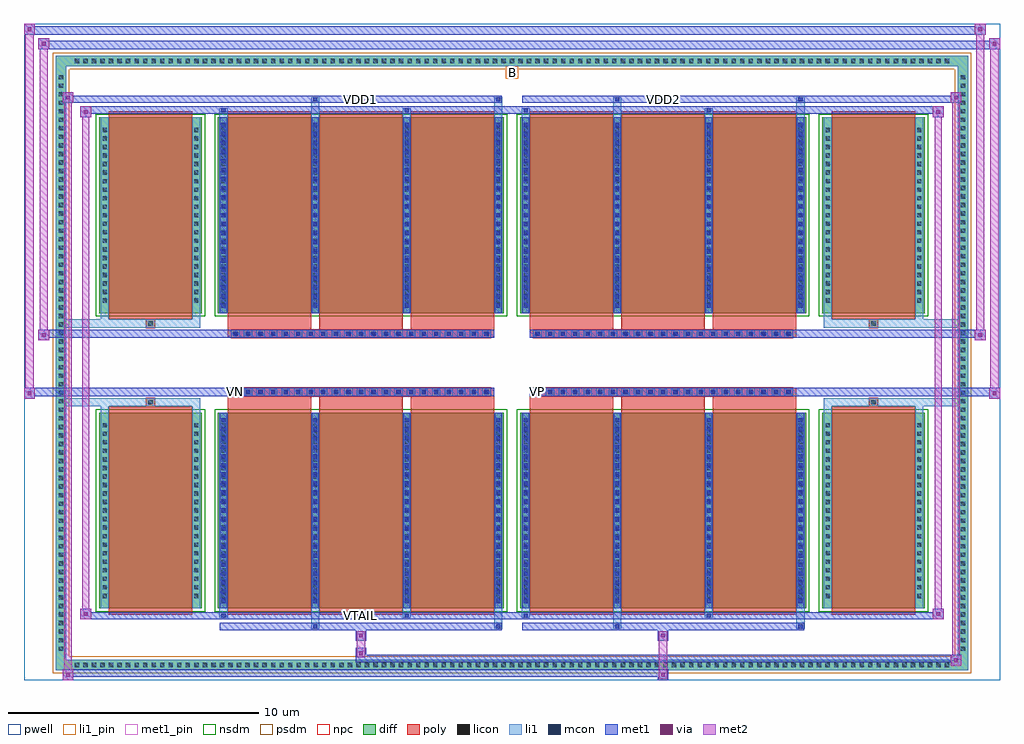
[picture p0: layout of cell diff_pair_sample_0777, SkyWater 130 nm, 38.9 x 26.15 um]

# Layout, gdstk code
import gdstk
lib = gdstk.Library(unit=1e-6, precision=5e-09)
def R(c, l, rs):  # rectangles x0, y0, x1, y1
    for r in rs: c.add(gdstk.rectangle(r[:2], r[2:], *l))
def A(c, l, x, y, w, h, nx, ny, dx, dy):  # array of equal rectangles
    R(c, l, [(x+i*dx, y+j*dy, x+i*dx+w, y+j*dy+h) for i in range(nx) for j in range(ny)])
def P(c, l, *ps):  # polygons
    for p in ps: c.add(gdstk.Polygon(p, *l))
pwell = (64, 44)
diff = (65, 20)
poly = (66, 20)
licon = (66, 44)
li1_pin = (67, 16)
li1 = (67, 20)
mcon = (67, 44)
met1_pin = (68, 16)
met1 = (68, 20)
via = (68, 44)
met2 = (69, 20)
nsdm = (93, 44)
psdm = (94, 20)
npc = (95, 20)

diff_pair_sample_0777 = lib.new_cell('diff_pair_sample_0777')
R(diff_pair_sample_0777, pwell, [(-19.45,-12.64,19.45,13.51), (-16.77,-10.83,-0.01,-0.795), (0.01,-10.83,16.77,-0.795), (-16.77,0.795,-0.01,10.83), (0.01,0.795,16.77,10.83)])
A(diff_pair_sample_0777, diff, -17.545, -12.24, 0.41, 0.41, 103, 2, 0.34, 24.07)
A(diff_pair_sample_0777, diff, -18.18, -11.595, 0.41, 0.41, 1, 68, 0, 0.34)
A(diff_pair_sample_0777, diff, 17.77, -11.595, 0.41, 0.41, 1, 68, 0, 0.34)
R(diff_pair_sample_0777, diff, [(-17.545,-12.24,17.545,-11.83), (-18.18,-11.595,-17.77,11.595), (17.77,-11.595,18.18,11.595), (-16.46,-9.785,-12.36,-1.985), (-11.72,-9.785,-0.32,-1.985), (0.32,-9.785,11.72,-1.985), (12.36,-9.785,16.46,-1.985), (-16.46,1.985,-12.36,9.785), (-11.72,1.985,-0.32,9.785), (0.32,1.985,11.72,9.785), (12.36,1.985,16.46,9.785), (-17.545,11.83,17.545,12.24)])
P(diff_pair_sample_0777, diff, [(18.18,12.24),(-18.18,12.24),(-18.18,-11.83),(-17.77,-11.83),(-17.77,11.83),(17.77,11.83),(17.77,-11.83),(-17.77,-11.83),(-18.18,-11.83),(-18.18,-12.24),(18.18,-12.24)])
A(diff_pair_sample_0777, poly, -11.33, -10.035, 3.32, 8.3, 3, 2, 3.65, 11.77)
A(diff_pair_sample_0777, poly, 0.71, -10.035, 3.32, 8.3, 3, 2, 3.65, 11.77)
A(diff_pair_sample_0777, poly, -11.33, -1.735, 3.32, 0.41, 3, 2, 3.65, 3.06)
A(diff_pair_sample_0777, poly, 0.71, -1.735, 3.32, 0.41, 3, 2, 3.65, 3.06)
A(diff_pair_sample_0777, poly, -11.185, -1.325, 0.33, 0.33, 21, 2, 0.5, 2.32)
A(diff_pair_sample_0777, poly, 0.855, -1.325, 0.33, 0.33, 21, 2, 0.5, 2.32)
R(diff_pair_sample_0777, poly, [(-16.07,-10.035,-12.75,-1.735), (12.75,-10.035,16.07,-1.735), (-14.575,-1.735,-14.245,-1.405), (-14.575,-1.735,-14.245,-1.405), (14.245,-1.735,14.575,-1.405), (14.245,-1.735,14.575,-1.405), (-11.33,-1.325,-0.71,-0.995), (0.71,-1.325,11.33,-0.995), (-11.33,0.995,-0.71,1.325), (0.71,0.995,11.33,1.325), (-14.575,1.405,-14.245,1.735), (-14.575,1.405,-14.245,1.735), (14.245,1.405,14.575,1.735), (14.245,1.405,14.575,1.735), (-16.07,1.735,-12.75,10.035), (12.75,1.735,16.07,10.035)])
A(diff_pair_sample_0777, licon, -17.425, -12.12, 0.17, 0.17, 103, 2, 0.34, 24.07)
A(diff_pair_sample_0777, licon, -18.06, -11.475, 0.17, 0.17, 1, 68, 0, 0.34)
A(diff_pair_sample_0777, licon, 17.89, -11.475, 0.17, 0.17, 1, 68, 0, 0.34)
A(diff_pair_sample_0777, licon, -16.32, -9.37, 0.17, 0.17, 1, 21, 0, 0.34)
A(diff_pair_sample_0777, licon, -12.67, -9.37, 0.17, 0.17, 1, 21, 0, 0.34)
A(diff_pair_sample_0777, licon, -11.58, -9.37, 0.17, 0.17, 4, 21, 3.65, 0.34)
A(diff_pair_sample_0777, licon, 0.46, -9.37, 0.17, 0.17, 4, 21, 3.65, 0.34)
A(diff_pair_sample_0777, licon, 12.5, -9.37, 0.17, 0.17, 1, 21, 0, 0.34)
A(diff_pair_sample_0777, licon, 16.15, -9.37, 0.17, 0.17, 1, 21, 0, 0.34)
A(diff_pair_sample_0777, licon, -11.105, -1.245, 0.17, 0.17, 21, 2, 0.5, 2.32)
A(diff_pair_sample_0777, licon, 0.935, -1.245, 0.17, 0.17, 21, 2, 0.5, 2.32)
A(diff_pair_sample_0777, licon, -16.32, 2.4, 0.17, 0.17, 1, 21, 0, 0.34)
A(diff_pair_sample_0777, licon, -12.67, 2.4, 0.17, 0.17, 1, 21, 0, 0.34)
A(diff_pair_sample_0777, licon, -11.58, 2.4, 0.17, 0.17, 4, 21, 3.65, 0.34)
A(diff_pair_sample_0777, licon, 0.46, 2.4, 0.17, 0.17, 4, 21, 3.65, 0.34)
A(diff_pair_sample_0777, licon, 12.5, 2.4, 0.17, 0.17, 1, 21, 0, 0.34)
A(diff_pair_sample_0777, licon, 16.15, 2.4, 0.17, 0.17, 1, 21, 0, 0.34)
R(diff_pair_sample_0777, licon, [(-14.495,-1.655,-14.325,-1.485), (14.325,-1.655,14.495,-1.485), (-14.495,1.485,-14.325,1.655), (14.325,1.485,14.495,1.655)])
R(diff_pair_sample_0777, li1_pin, [(-0.25,11.33,0.25,11.83)])
A(diff_pair_sample_0777, li1, -17.505, -12.2, 0.33, 0.33, 103, 2, 0.34, 24.07)
A(diff_pair_sample_0777, li1, -18.14, -11.555, 0.33, 0.33, 1, 68, 0, 0.34)
A(diff_pair_sample_0777, li1, 17.81, -11.555, 0.33, 0.33, 1, 68, 0, 0.34)
A(diff_pair_sample_0777, li1, -11.66, -9.785, 0.33, 7.8, 4, 2, 3.65, 11.77)
A(diff_pair_sample_0777, li1, 0.38, -9.785, 0.33, 7.8, 4, 2, 3.65, 11.77)
A(diff_pair_sample_0777, li1, -11.58, -9.57, 0.17, 0.17, 4, 21, 3.65, 0.36)
A(diff_pair_sample_0777, li1, -11.58, -9.57, 0.17, 7.37, 4, 2, 3.65, 11.77)
A(diff_pair_sample_0777, li1, 0.46, -9.57, 0.17, 0.17, 4, 21, 3.65, 0.36)
A(diff_pair_sample_0777, li1, 0.46, -9.57, 0.17, 7.37, 4, 2, 3.65, 11.77)
A(diff_pair_sample_0777, li1, -16.4, -9.45, 0.33, 0.33, 1, 21, 0, 0.34)
A(diff_pair_sample_0777, li1, -12.75, -9.45, 0.33, 0.33, 1, 21, 0, 0.34)
A(diff_pair_sample_0777, li1, -11.66, -9.45, 0.33, 0.33, 4, 21, 3.65, 0.34)
A(diff_pair_sample_0777, li1, 0.38, -9.45, 0.33, 0.33, 4, 21, 3.65, 0.34)
A(diff_pair_sample_0777, li1, 12.42, -9.45, 0.33, 0.33, 1, 21, 0, 0.34)
A(diff_pair_sample_0777, li1, 16.07, -9.45, 0.33, 0.33, 1, 21, 0, 0.34)
A(diff_pair_sample_0777, li1, -11.185, -1.325, 0.33, 0.33, 21, 2, 0.5, 2.32)
A(diff_pair_sample_0777, li1, 0.855, -1.325, 0.33, 0.33, 21, 2, 0.5, 2.32)
A(diff_pair_sample_0777, li1, -11.58, 2.2, 0.17, 0.17, 4, 21, 3.65, 0.36)
A(diff_pair_sample_0777, li1, 0.46, 2.2, 0.17, 0.17, 4, 21, 3.65, 0.36)
A(diff_pair_sample_0777, li1, -16.4, 2.32, 0.33, 0.33, 1, 21, 0, 0.34)
A(diff_pair_sample_0777, li1, -12.75, 2.32, 0.33, 0.33, 1, 21, 0, 0.34)
A(diff_pair_sample_0777, li1, -11.66, 2.32, 0.33, 0.33, 4, 21, 3.65, 0.34)
A(diff_pair_sample_0777, li1, 0.38, 2.32, 0.33, 0.33, 4, 21, 3.65, 0.34)
A(diff_pair_sample_0777, li1, 12.42, 2.32, 0.33, 0.33, 1, 21, 0, 0.34)
A(diff_pair_sample_0777, li1, 16.07, 2.32, 0.33, 0.33, 1, 21, 0, 0.34)
R(diff_pair_sample_0777, li1, [(-18.18,-12.24,-17.77,-11.83), (-18.18,-12.24,-17.77,-11.83), (-17.77,-12.24,17.77,-11.83), (17.77,-12.24,18.18,-11.83), (17.77,-12.24,18.18,-11.83), (-18.18,-11.83,-17.77,11.83), (17.77,-11.83,18.18,11.83), (-8.01,-10.59,-7.68,-9.785), (-7.93,-10.59,-7.76,-10.42), (-0.71,-10.59,-0.38,-9.785), (-0.63,-10.59,-0.46,-10.42), (4.03,-10.59,4.36,-9.785), (4.11,-10.59,4.28,-10.42), (11.33,-10.59,11.66,-9.785), (11.41,-10.59,11.58,-10.42), (-11.66,-10.16,-11.33,-9.785), (-11.58,-10.16,-11.41,-9.99), (-4.36,-10.16,-4.03,-9.785), (-4.28,-10.16,-4.11,-9.99), (0.38,-10.16,0.71,-9.785), (0.46,-10.16,0.63,-9.99), (7.68,-10.16,8.01,-9.785), (7.76,-10.16,7.93,-9.99), (-16.4,-9.785,-16.07,-1.985), (-12.75,-9.785,-12.42,-1.985), (12.42,-9.785,12.75,-1.985), (16.07,-9.785,16.4,-1.985), (-16.4,-1.985,-16.07,-1.405), (-12.75,-1.985,-12.42,-1.405), (12.42,-1.985,12.75,-1.405), (16.07,-1.985,16.4,-1.405), (-18.18,-1.735,-14.575,-1.405), (-16.4,-1.735,-14.575,-1.405), (-14.575,-1.735,-14.245,-1.405), (-14.245,-1.735,-12.42,-1.405), (12.42,-1.735,14.245,-1.405), (14.245,-1.735,14.575,-1.405), (14.245,-1.735,18.18,-1.405), (14.575,-1.735,16.4,-1.405), (-18.18,1.405,-14.575,1.735), (-16.4,1.405,-14.575,1.735), (-16.4,1.405,-16.07,1.985), (-14.575,1.405,-14.245,1.735), (-14.245,1.405,-12.42,1.735), (-12.75,1.405,-12.42,1.985), (12.42,1.405,14.245,1.735), (12.42,1.405,12.75,1.985), (14.245,1.405,14.575,1.735), (14.245,1.405,18.18,1.735), (14.575,1.405,16.4,1.735), (16.07,1.405,16.4,1.985), (-16.4,1.985,-16.07,9.785), (-12.75,1.985,-12.42,9.785), (12.42,1.985,12.75,9.785), (16.07,1.985,16.4,9.785), (-11.66,9.785,-11.33,10.16), (-8.01,9.785,-7.68,10.59), (-4.36,9.785,-4.03,10.16), (-0.71,9.785,-0.38,10.59), (0.38,9.785,0.71,10.16), (4.03,9.785,4.36,10.59), (7.68,9.785,8.01,10.16), (11.33,9.785,11.66,10.59), (-11.58,9.99,-11.41,10.16), (-4.28,9.99,-4.11,10.16), (0.46,9.99,0.63,10.16), (7.76,9.99,7.93,10.16), (-7.93,10.42,-7.76,10.59), (-0.63,10.42,-0.46,10.59), (4.11,10.42,4.28,10.59), (11.41,10.42,11.58,10.59), (-18.18,11.83,-17.77,12.24), (-18.18,11.83,-17.77,12.24), (-17.77,11.83,17.77,12.24), (17.77,11.83,18.18,12.24), (17.77,11.83,18.18,12.24)])
A(diff_pair_sample_0777, mcon, -11.58, -9.57, 0.17, 0.17, 4, 21, 3.65, 0.36)
A(diff_pair_sample_0777, mcon, 0.46, -9.57, 0.17, 0.17, 4, 21, 3.65, 0.36)
A(diff_pair_sample_0777, mcon, -11.105, -1.245, 0.17, 0.17, 21, 2, 0.5, 2.32)
A(diff_pair_sample_0777, mcon, 0.935, -1.245, 0.17, 0.17, 21, 2, 0.5, 2.32)
A(diff_pair_sample_0777, mcon, -11.58, 2.2, 0.17, 0.17, 4, 21, 3.65, 0.36)
A(diff_pair_sample_0777, mcon, 0.46, 2.2, 0.17, 0.17, 4, 21, 3.65, 0.36)
R(diff_pair_sample_0777, mcon, [(-7.93,-10.59,-7.76,-10.42), (-0.63,-10.59,-0.46,-10.42), (4.11,-10.59,4.28,-10.42), (11.41,-10.59,11.58,-10.42), (-11.58,-10.16,-11.41,-9.99), (-4.28,-10.16,-4.11,-9.99), (0.46,-10.16,0.63,-9.99), (7.76,-10.16,7.93,-9.99), (-11.58,9.99,-11.41,10.16), (-4.28,9.99,-4.11,10.16), (0.46,9.99,0.63,10.16), (7.76,9.99,7.93,10.16), (-7.93,10.42,-7.76,10.59), (-0.63,10.42,-0.46,10.59), (4.11,10.42,4.28,10.59), (11.41,10.42,11.58,10.59)])
R(diff_pair_sample_0777, met1_pin, [(-6.155,-10.2,-5.885,-9.93), (-11.155,-1.285,-10.885,-1.015), (0.885,-1.285,1.155,-1.015), (-6.155,10.38,-5.885,10.65), (5.885,10.38,6.155,10.65)])
A(diff_pair_sample_0777, met1, -11.64, -9.785, 0.29, 7.8, 4, 2, 3.65, 11.77)
A(diff_pair_sample_0777, met1, 0.4, -9.785, 0.29, 7.8, 4, 2, 3.65, 11.77)
A(diff_pair_sample_0777, met1, -11.64, -9.63, 0.29, 0.29, 4, 21, 3.65, 0.36)
A(diff_pair_sample_0777, met1, 0.4, -9.63, 0.29, 0.29, 4, 21, 3.65, 0.36)
A(diff_pair_sample_0777, met1, -11.165, -1.305, 0.29, 0.29, 21, 2, 0.5, 2.32)
A(diff_pair_sample_0777, met1, 0.875, -1.305, 0.29, 0.29, 21, 2, 0.5, 2.32)
A(diff_pair_sample_0777, met1, -11.64, 2.14, 0.29, 0.29, 4, 21, 3.65, 0.36)
A(diff_pair_sample_0777, met1, 0.4, 2.14, 0.29, 0.29, 4, 21, 3.65, 0.36)
R(diff_pair_sample_0777, met1, [(-17.91,-12.64,-17.48,-12.21), (5.805,-12.64,6.235,-12.21), (-17.91,-12.5,6.235,-12.21), (17.48,-12.07,17.91,-11.64), (-6.235,-11.93,17.91,-11.64), (-6.235,-11.79,-5.805,-11.36), (-6.235,-11.08,-5.805,-10.65), (5.805,-11.08,6.235,-10.65), (-11.64,-10.65,-0.4,-10.36), (-7.99,-10.65,-7.7,-10.36), (-0.69,-10.65,-0.4,-10.36), (0.4,-10.65,11.64,-10.36), (4.05,-10.65,4.34,-10.36), (11.35,-10.65,11.64,-10.36), (-17.2,-10.22,-16.77,-9.79), (-17.2,-10.22,-11.64,-9.93), (-11.64,-10.22,-11.35,-9.93), (-11.64,-10.22,-0.4,-9.93), (-4.34,-10.22,-4.05,-9.93), (-0.4,-10.22,0.4,-9.93), (0.4,-10.22,0.69,-9.93), (0.4,-10.22,11.64,-9.93), (7.7,-10.22,7.99,-9.93), (11.64,-10.22,17.2,-9.93), (16.77,-10.22,17.2,-9.79), (-19.45,-1.425,-19.02,-0.995), (19.02,-1.425,19.45,-0.995), (-19.45,-1.325,-0.71,-0.995), (-11.33,-1.325,-0.71,-0.995), (0.71,-1.325,11.33,-0.995), (0.71,-1.325,19.45,-0.995), (-18.88,0.895,-18.45,1.325), (18.45,0.895,18.88,1.325), (-18.88,0.995,-11.33,1.325), (-11.33,0.995,-0.71,1.325), (0.71,0.995,11.33,1.325), (11.33,0.995,18.88,1.325), (-17.2,9.79,-16.77,10.22), (16.77,9.79,17.2,10.22), (-17.2,9.93,-11.64,10.22), (-11.64,9.93,-11.35,10.22), (-11.64,9.93,-0.4,10.22), (-4.34,9.93,-4.05,10.22), (-0.4,9.93,0.4,10.22), (0.4,9.93,0.69,10.22), (0.4,9.93,11.64,10.22), (7.7,9.93,7.99,10.22), (11.64,9.93,17.2,10.22), (-17.91,10.36,-17.48,10.79), (-17.91,10.36,-11.64,10.65), (-11.64,10.36,-0.4,10.65), (-7.99,10.36,-7.7,10.65), (-0.69,10.36,-0.4,10.65), (0.4,10.36,11.64,10.65), (4.05,10.36,4.34,10.65), (11.35,10.36,11.64,10.65), (11.64,10.36,17.91,10.65), (17.48,10.36,17.91,10.79), (-18.88,12.51,-18.45,12.94), (-18.88,12.51,-16.77,12.84), (-16.77,12.51,16.77,12.84), (16.77,12.51,19.45,12.84), (19.02,12.51,19.45,12.94), (-19.45,13.08,-19.02,13.51), (-19.45,13.08,-16.77,13.41), (-16.77,13.08,16.77,13.41), (16.77,13.08,18.88,13.41), (18.45,13.08,18.88,13.51)])
R(diff_pair_sample_0777, via, [(-17.77,-12.5,-17.62,-12.35), (5.945,-12.5,6.095,-12.35), (17.62,-11.93,17.77,-11.78), (-6.095,-11.65,-5.945,-11.5), (-6.095,-10.94,-5.945,-10.79), (5.945,-10.94,6.095,-10.79), (-17.06,-10.08,-16.91,-9.93), (16.91,-10.08,17.06,-9.93), (-19.31,-1.285,-19.16,-1.135), (19.16,-1.285,19.31,-1.135), (-18.74,1.035,-18.59,1.185), (18.59,1.035,18.74,1.185), (-17.06,9.93,-16.91,10.08), (16.91,9.93,17.06,10.08), (-17.77,10.5,-17.62,10.65), (17.62,10.5,17.77,10.65), (-18.74,12.65,-18.59,12.8), (19.16,12.65,19.31,12.8), (-19.31,13.22,-19.16,13.37), (18.59,13.22,18.74,13.37)])
R(diff_pair_sample_0777, met2, [(-17.91,-12.64,-17.48,-12.21), (-17.84,-12.64,-17.55,10.79), (-17.55,-12.64,-17.48,-12.21), (-17.86,-12.59,-17.53,-12.26), (5.855,-12.59,6.185,-12.26), (5.855,-12.26,6.185,-11.03), (17.48,-12.07,17.91,-11.64), (17.55,-12.07,17.84,10.79), (17.84,-12.07,17.91,-11.64), (17.53,-12.02,17.86,-11.69), (-6.185,-11.74,-5.855,-11.41), (-6.185,-11.41,-5.855,-11.03), (-6.185,-11.03,-5.855,-10.7), (5.855,-11.03,6.185,-10.7), (-17.2,-10.22,-16.77,-9.79), (-17.13,-10.22,-16.84,10.22), (-16.84,-10.22,-16.77,-9.79), (16.77,-10.22,17.2,-9.79), (16.84,-10.22,17.13,10.22), (17.13,-10.22,17.2,-9.79), (-17.15,-10.17,-16.82,-9.84), (16.82,-10.17,17.15,-9.84), (-19.45,-1.425,-19.02,-0.995), (-19.4,-1.425,-19.07,13.51), (-19.07,-1.425,-19.02,-0.995), (19.02,-1.425,19.45,-0.995), (19.07,-1.425,19.4,12.94), (19.4,-1.425,19.45,-0.995), (-19.4,-1.375,-19.07,-1.045), (19.07,-1.375,19.4,-1.045), (-18.88,0.895,-18.45,1.325), (-18.83,0.895,-18.5,12.94), (-18.5,0.895,-18.45,1.325), (18.45,0.895,18.88,1.325), (18.5,0.895,18.83,13.51), (18.83,0.895,18.88,1.325), (-18.83,0.945,-18.5,1.275), (18.5,0.945,18.83,1.275), (-17.2,9.79,-16.77,10.22), (-16.84,9.79,-16.77,10.22), (16.77,9.79,17.2,10.22), (17.13,9.79,17.2,10.22), (-17.15,9.84,-16.82,10.17), (16.82,9.84,17.15,10.17), (-17.91,10.36,-17.48,10.79), (-17.55,10.36,-17.48,10.79), (17.48,10.36,17.91,10.79), (17.84,10.36,17.91,10.79), (-17.86,10.41,-17.53,10.74), (17.53,10.41,17.86,10.74), (-18.88,12.51,-18.45,12.94), (-18.5,12.51,-18.45,12.94), (19.02,12.51,19.45,12.94), (19.4,12.51,19.45,12.94), (-18.83,12.56,-18.5,12.89), (19.07,12.56,19.4,12.89), (-19.45,13.08,-19.02,13.51), (-19.07,13.08,-19.02,13.51), (18.45,13.08,18.88,13.51), (18.83,13.08,18.88,13.51), (-19.4,13.13,-19.07,13.46), (18.5,13.13,18.83,13.46)])
R(diff_pair_sample_0777, nsdm, [(-16.59,-9.915,-12.23,-1.855), (-11.85,-9.915,-0.19,-1.855), (0.19,-9.915,11.85,-1.855), (12.23,-9.915,16.59,-1.855), (-16.59,1.855,-12.23,9.915), (-11.85,1.855,-0.19,9.915), (0.19,1.855,11.85,9.915), (12.23,1.855,16.59,9.915)])
P(diff_pair_sample_0777, psdm, [(18.31,12.37),(-18.31,12.37),(-18.31,-11.7),(-17.64,-11.7),(-17.64,11.7),(17.64,11.7),(17.64,-11.7),(-17.64,-11.7),(-18.31,-11.7),(-18.31,-12.37),(18.31,-12.37)])
A(diff_pair_sample_0777, npc, -11.205, -1.345, 0.37, 0.37, 21, 2, 0.5, 2.32)
A(diff_pair_sample_0777, npc, 0.835, -1.345, 0.37, 0.37, 21, 2, 0.5, 2.32)
R(diff_pair_sample_0777, npc, [(-14.595,-1.755,-14.225,-1.385), (14.225,-1.755,14.595,-1.385), (-11.205,-1.345,-10.335,-0.975), (-11.205,-1.345,-10.335,-0.975), (-10.705,-1.345,-9.835,-0.975), (-10.705,-1.345,-9.835,-0.975), (-10.205,-1.345,-9.335,-0.975), (-10.205,-1.345,-9.335,-0.975), (-9.705,-1.345,-8.835,-0.975), (-9.705,-1.345,-8.835,-0.975), (-9.205,-1.345,-8.335,-0.975), (-9.205,-1.345,-8.335,-0.975), (-8.705,-1.345,-7.835,-0.975), (-8.705,-1.345,-7.835,-0.975), (-8.205,-1.345,-7.335,-0.975), (-8.205,-1.345,-7.335,-0.975), (-7.705,-1.345,-6.835,-0.975), (-7.705,-1.345,-6.835,-0.975), (-7.205,-1.345,-6.335,-0.975), (-7.205,-1.345,-6.335,-0.975), (-6.705,-1.345,-5.835,-0.975), (-6.705,-1.345,-5.835,-0.975), (-6.205,-1.345,-5.335,-0.975), (-6.205,-1.345,-5.335,-0.975), (-5.705,-1.345,-4.835,-0.975), (-5.705,-1.345,-4.835,-0.975), (-5.205,-1.345,-4.335,-0.975), (-5.205,-1.345,-4.335,-0.975), (-4.705,-1.345,-3.835,-0.975), (-4.705,-1.345,-3.835,-0.975), (-4.205,-1.345,-3.335,-0.975), (-4.205,-1.345,-3.335,-0.975), (-3.705,-1.345,-2.835,-0.975), (-3.705,-1.345,-2.835,-0.975), (-3.205,-1.345,-2.335,-0.975), (-3.205,-1.345,-2.335,-0.975), (-2.705,-1.345,-1.835,-0.975), (-2.705,-1.345,-1.835,-0.975), (-2.205,-1.345,-1.335,-0.975), (-2.205,-1.345,-1.335,-0.975), (-1.705,-1.345,-0.835,-0.975), (-1.705,-1.345,-0.835,-0.975), (0.835,-1.345,1.705,-0.975), (0.835,-1.345,1.705,-0.975), (1.335,-1.345,2.205,-0.975), (1.335,-1.345,2.205,-0.975), (1.835,-1.345,2.705,-0.975), (1.835,-1.345,2.705,-0.975), (2.335,-1.345,3.205,-0.975), (2.335,-1.345,3.205,-0.975), (2.835,-1.345,3.705,-0.975), (2.835,-1.345,3.705,-0.975), (3.335,-1.345,4.205,-0.975), (3.335,-1.345,4.205,-0.975), (3.835,-1.345,4.705,-0.975), (3.835,-1.345,4.705,-0.975), (4.335,-1.345,5.205,-0.975), (4.335,-1.345,5.205,-0.975), (4.835,-1.345,5.705,-0.975), (4.835,-1.345,5.705,-0.975), (5.335,-1.345,6.205,-0.975), (5.335,-1.345,6.205,-0.975), (5.835,-1.345,6.705,-0.975), (5.835,-1.345,6.705,-0.975), (6.335,-1.345,7.205,-0.975), (6.335,-1.345,7.205,-0.975), (6.835,-1.345,7.705,-0.975), (6.835,-1.345,7.705,-0.975), (7.335,-1.345,8.205,-0.975), (7.335,-1.345,8.205,-0.975), (7.835,-1.345,8.705,-0.975), (7.835,-1.345,8.705,-0.975), (8.335,-1.345,9.205,-0.975), (8.335,-1.345,9.205,-0.975), (8.835,-1.345,9.705,-0.975), (8.835,-1.345,9.705,-0.975), (9.335,-1.345,10.205,-0.975), (9.335,-1.345,10.205,-0.975), (9.835,-1.345,10.705,-0.975), (9.835,-1.345,10.705,-0.975), (10.335,-1.345,11.205,-0.975), (10.335,-1.345,11.205,-0.975), (-11.205,0.975,-10.335,1.345), (-11.205,0.975,-10.335,1.345), (-10.705,0.975,-9.835,1.345), (-10.705,0.975,-9.835,1.345), (-10.205,0.975,-9.335,1.345), (-10.205,0.975,-9.335,1.345), (-9.705,0.975,-8.835,1.345), (-9.705,0.975,-8.835,1.345), (-9.205,0.975,-8.335,1.345), (-9.205,0.975,-8.335,1.345), (-8.705,0.975,-7.835,1.345), (-8.705,0.975,-7.835,1.345), (-8.205,0.975,-7.335,1.345), (-8.205,0.975,-7.335,1.345), (-7.705,0.975,-6.835,1.345), (-7.705,0.975,-6.835,1.345), (-7.205,0.975,-6.335,1.345), (-7.205,0.975,-6.335,1.345), (-6.705,0.975,-5.835,1.345), (-6.705,0.975,-5.835,1.345), (-6.205,0.975,-5.335,1.345), (-6.205,0.975,-5.335,1.345), (-5.705,0.975,-4.835,1.345), (-5.705,0.975,-4.835,1.345), (-5.205,0.975,-4.335,1.345), (-5.205,0.975,-4.335,1.345), (-4.705,0.975,-3.835,1.345), (-4.705,0.975,-3.835,1.345), (-4.205,0.975,-3.335,1.345), (-4.205,0.975,-3.335,1.345), (-3.705,0.975,-2.835,1.345), (-3.705,0.975,-2.835,1.345), (-3.205,0.975,-2.335,1.345), (-3.205,0.975,-2.335,1.345), (-2.705,0.975,-1.835,1.345), (-2.705,0.975,-1.835,1.345), (-2.205,0.975,-1.335,1.345), (-2.205,0.975,-1.335,1.345), (-1.705,0.975,-0.835,1.345), (-1.705,0.975,-0.835,1.345), (0.835,0.975,1.705,1.345), (0.835,0.975,1.705,1.345), (1.335,0.975,2.205,1.345), (1.335,0.975,2.205,1.345), (1.835,0.975,2.705,1.345), (1.835,0.975,2.705,1.345), (2.335,0.975,3.205,1.345), (2.335,0.975,3.205,1.345), (2.835,0.975,3.705,1.345), (2.835,0.975,3.705,1.345), (3.335,0.975,4.205,1.345), (3.335,0.975,4.205,1.345), (3.835,0.975,4.705,1.345), (3.835,0.975,4.705,1.345), (4.335,0.975,5.205,1.345), (4.335,0.975,5.205,1.345), (4.835,0.975,5.705,1.345), (4.835,0.975,5.705,1.345), (5.335,0.975,6.205,1.345), (5.335,0.975,6.205,1.345), (5.835,0.975,6.705,1.345), (5.835,0.975,6.705,1.345), (6.335,0.975,7.205,1.345), (6.335,0.975,7.205,1.345), (6.835,0.975,7.705,1.345), (6.835,0.975,7.705,1.345), (7.335,0.975,8.205,1.345), (7.335,0.975,8.205,1.345), (7.835,0.975,8.705,1.345), (7.835,0.975,8.705,1.345), (8.335,0.975,9.205,1.345), (8.335,0.975,9.205,1.345), (8.835,0.975,9.705,1.345), (8.835,0.975,9.705,1.345), (9.335,0.975,10.205,1.345), (9.335,0.975,10.205,1.345), (9.835,0.975,10.705,1.345), (9.835,0.975,10.705,1.345), (10.335,0.975,11.205,1.345), (10.335,0.975,11.205,1.345), (-14.595,1.385,-14.225,1.755), (14.225,1.385,14.595,1.755)])
diff_pair_sample_0777.add(gdstk.Label('VTAIL', (-6.02,-10.065), layer=68, texttype=5))
diff_pair_sample_0777.add(gdstk.Label('VN', (-11.02,-1.15), layer=68, texttype=5))
diff_pair_sample_0777.add(gdstk.Label('VP', (1.02,-1.15), layer=68, texttype=5))
diff_pair_sample_0777.add(gdstk.Label('B', (0,11.58), layer=67, texttype=5))
diff_pair_sample_0777.add(gdstk.Label('VDD2', (6.02,10.515), layer=68, texttype=5))
diff_pair_sample_0777.add(gdstk.Label('VDD1', (-6.02,10.515), layer=68, texttype=5))

lib.write_gds('diff_pair_sample_0777.gds')
